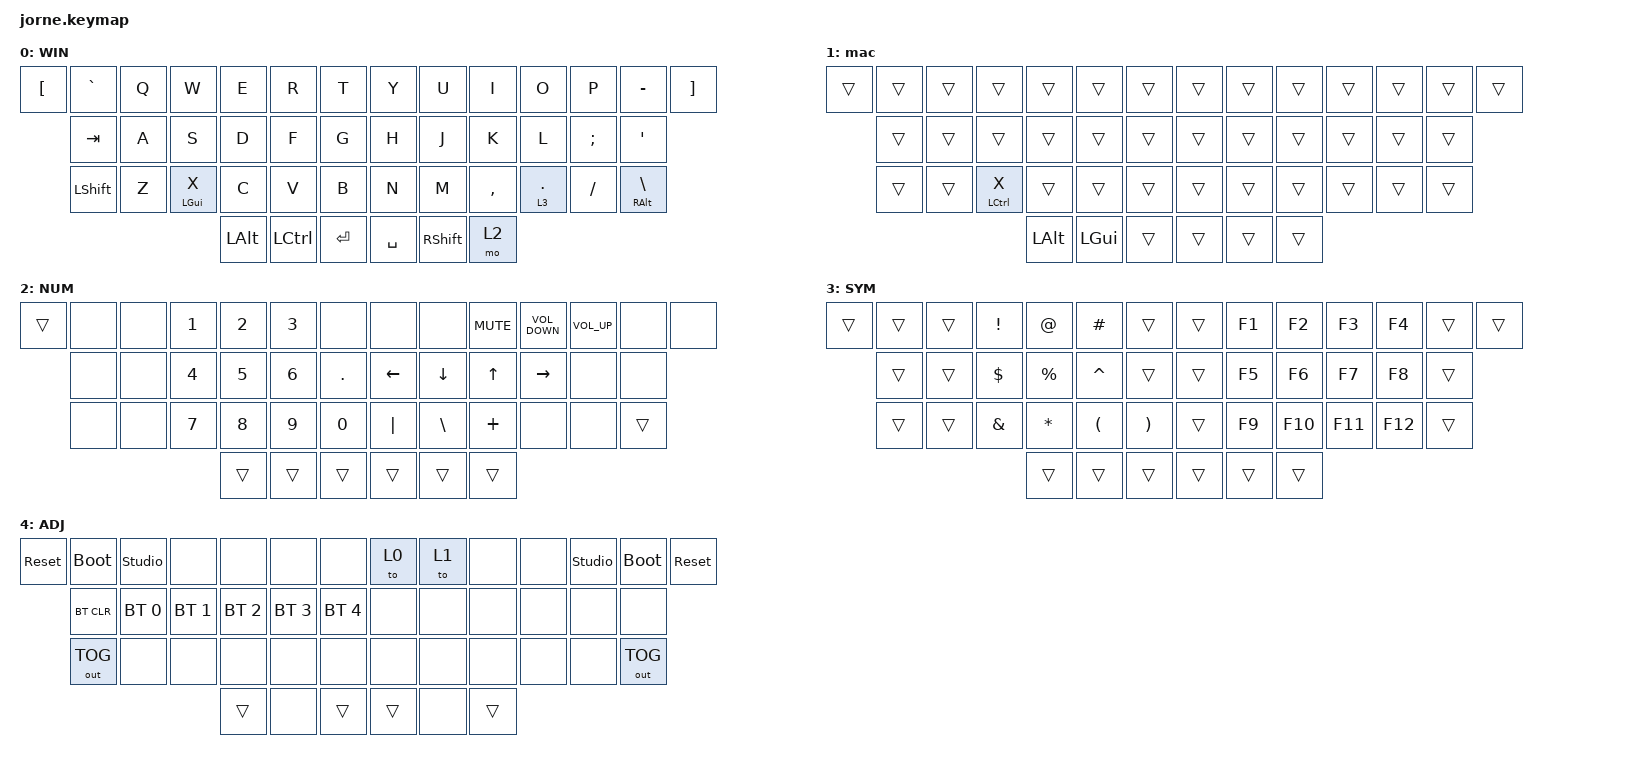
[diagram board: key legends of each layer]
/*
 * Copyright (c) 2020 The ZMK Contributors
 *
 * SPDX-License-Identifier: MIT
 */

#include <behaviors.dtsi>
#include <dt-bindings/zmk/bt.h>
#include <dt-bindings/zmk/keys.h>
#include <dt-bindings/zmk/outputs.h>

#define DEF 0
#define LWR 1
#define RSE 2
#define ADJ 3

&lt { quick-tap-ms = <200>; };

&mt { quick-tap-ms = <200>; };

/ {
    conditional_layers {
        compatible = "zmk,conditional-layers";

        tri_layer {
            if-layers = <2 3>;
            then-layer = <4>;
        };
    };

    combos {
        compatible = "zmk,combos";

        backspace {
            bindings = <&kp BACKSPACE>;
            key-positions = <21 22>;
        };

        delete {
            bindings = <&kp DELETE>;
            key-positions = <20 21>;
        };

        escape {
            bindings = <&kp ESCAPE>;
            key-positions = <19 18>;
        };

        lgui-single-press {
            bindings = <&kp LEFT_GUI>;
            key-positions = <27 28>;
        };
    };

    keymap {
        compatible = "zmk,keymap";

        win {
            display-name = "WIN";

            // -----------------------------------------------------------------------------------------
            // |  GUI |   ~  |  Q  |  W  |  E  |  R  |  T  |   |  Y  |  U   |  I  |  O  |  P  |  [   | GUI/] |
            //        | CTRL |  A  |  S  |  D  |  F  |  G  |   |  H  |  J   |  K  |  L  |  ;  |CTRL/'|
            //        | LALT |  Z  |  X  |  C  |  V  |  B  |   |  N  |  M   |  ,  |  .  |  /  |RALT/\|
            //                           | RSE | SPC | LWR |   | LWR | BSPC | RSE |

            bindings = <
&kp LEFT_BRACKET  &kp GRAVE       &kp Q  &kp W           &kp E         &kp R      &kp T        &kp Y      &kp U      &kp I      &kp O         &kp P     &kp MINUS       &kp RIGHT_BRACKET
                  &kp TAB         &kp A  &kp S           &kp D         &kp F      &kp G        &kp H      &kp J      &kp K      &kp L         &kp SEMI  &kp APOSTROPHE
                  &kp LEFT_SHIFT  &kp Z  &mt LEFT_GUI X  &kp C         &kp V      &kp B        &kp N      &kp M      &kp COMMA  &lt 3 PERIOD  &kp FSLH  &mt RALT BSLH
                                                         &kp LEFT_ALT  &kp LCTRL  &kp ENTER    &kp SPACE  &kp RSHFT  &mo 2
            >;
        };

        mac {
            bindings = <
&trans  &trans  &trans  &trans              &trans        &trans    &trans    &trans  &trans  &trans  &trans  &trans  &trans  &trans
        &trans  &trans  &trans              &trans        &trans    &trans    &trans  &trans  &trans  &trans  &trans  &trans
        &trans  &trans  &mt LEFT_CONTROL X  &trans        &trans    &trans    &trans  &trans  &trans  &trans  &trans  &trans
                                            &kp LEFT_ALT  &kp LGUI  &trans    &trans  &trans  &trans
            >;

            label = "mac";
        };

        fn1 {
            display-name = "NUM";

            // -----------------------------------------------------------------------------------------
            // |     |  _  |  F1 |  F2 |  F3 |  F4 |  F5 |   |  F6 |  F7 |  F8 |  F9 | F10 | F11 | F12 |
            //       |  +  |  !  |  @  |  #  |  $  |  %  |   |  ^  |  &  |  *  |  (  |  )  |  -  |
            //       |  =  |  1  |  2  |  3  |  4  |  5  |   |  6  |  7  |  8  |  9  |  0  |     |
            //                         | ADJ |     |     |   |     |     | ADJ |

            bindings = <
&trans  &none  &none  &kp NUMBER_1  &kp NUMBER_2  &kp NUMBER_3  &none           &none           &none           &kp C_MUTE    &kp C_VOLUME_DOWN  &kp C_VOLUME_UP  &none   &none
        &none  &none  &kp NUMBER_4  &kp NUMBER_5  &kp NUMBER_6  &kp DOT         &kp LEFT_ARROW  &kp DOWN_ARROW  &kp UP_ARROW  &kp RIGHT_ARROW    &none            &none
        &none  &none  &kp NUMBER_7  &kp NUMBER_8  &kp NUMBER_9  &kp NUMBER_0    &kp PIPE        &kp BACKSLASH   &kp PLUS      &none              &none            &trans
                                    &trans        &trans        &trans          &trans          &trans          &trans
            >;
        };

        fn2 {
            display-name = "SYM";

            // -----------------------------------------------------------------------------------------
            // |     | NMLK |  /  |  7  |  8  |  9  |  -  |   | VOLU| HOME| PRSC| PGUP| SCLK| CLCK|     |
            //       |CTRL/=|  *  |  4  |  5  |  6  |  +  |   | MUT | LEFT|  UP | RGHT| INS | APP |
            //       |      |  0  |  1  |  2  |  3  |  .  |   | VOLD| END | DOWN| PGDN| PAUS|     |
            //                          |     |     | ADJ |   | ADJ |     |     |

            bindings = <
&trans  &trans  &trans  &kp EXCLAMATION  &kp AT_SIGN   &kp HASH              &trans                   &trans  &kp F1  &kp F2   &kp F3   &kp F4   &trans  &trans
        &trans  &trans  &kp DOLLAR       &kp PERCENT   &kp CARET             &trans                   &trans  &kp F5  &kp F6   &kp F7   &kp F8   &trans
        &trans  &trans  &kp AMPERSAND    &kp ASTERISK  &kp LEFT_PARENTHESIS  &kp RIGHT_PARENTHESIS    &trans  &kp F9  &kp F10  &kp F11  &kp F12  &trans
                                         &trans        &trans                &trans                   &trans  &trans  &trans
            >;
        };

        adjust_layer {
            display-name = "ADJ";

            // -----------------------------------------------------------------------------------------
            // | RST | BLDR | STU |     |     |     |     |   |     |     |     |     | STU | BLDR | RST |
            //       | BTCLR| BT0 | BT1 | BT2 | BT3 | BT4 |   | BT4 | BT3 | BT2 | BT1 | BT0 | BTCLR|
            //       | OUT  |     |     |     |     |     |   |     |     |     |     |     | OUT  |
            //                          |     |     |     |   |     |     |     |

            bindings = <
&sys_reset  &bootloader   &studio_unlock  &none         &none         &none         &none           &to 0   &to 1  &none   &none  &studio_unlock  &bootloader   &sys_reset
            &bt BT_CLR    &bt BT_SEL 0    &bt BT_SEL 1  &bt BT_SEL 2  &bt BT_SEL 3  &bt BT_SEL 4    &none   &none  &none   &none  &none           &none
            &out OUT_TOG  &none           &none         &none         &none         &none           &none   &none  &none   &none  &none           &out OUT_TOG
                                                        &trans        &none         &trans          &trans  &none  &trans
            >;
        };
    };
};
